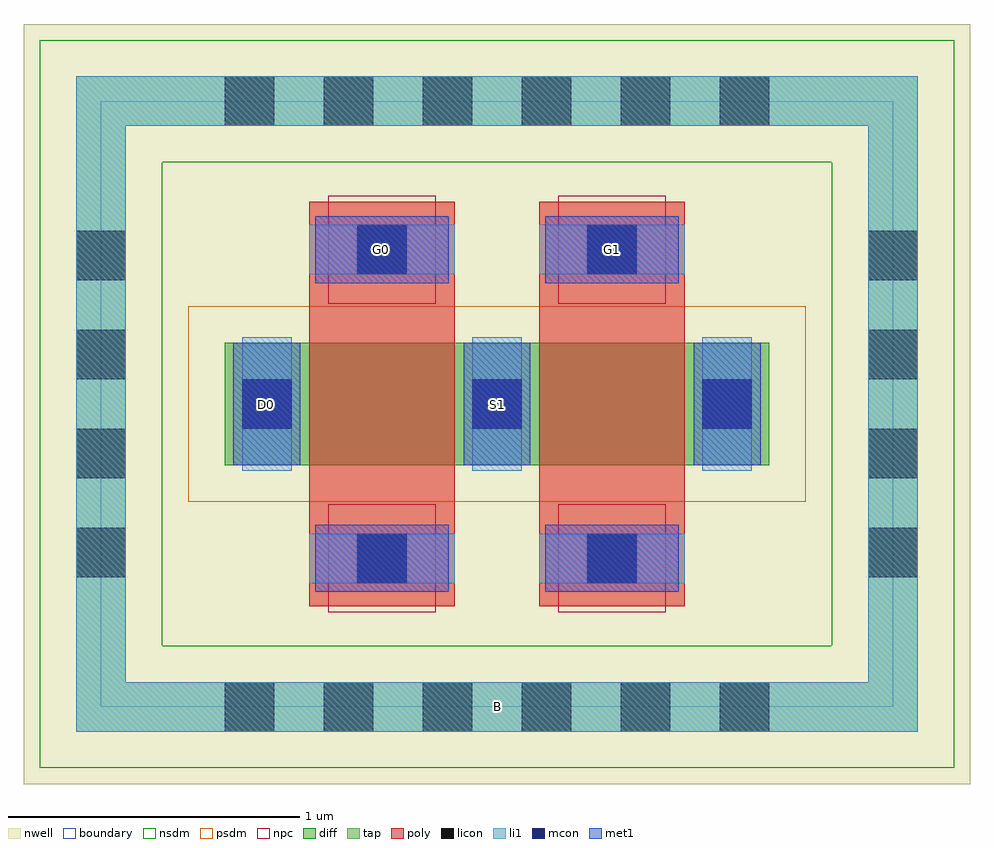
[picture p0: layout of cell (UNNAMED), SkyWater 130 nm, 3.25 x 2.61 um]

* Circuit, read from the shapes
.subckt (UNNAMED) B D0 G0 G1 S1
XM1 S1 G0 D0 B sky130_fd_pr__pfet_01v8 w=0.42 l=0.5
XM2 n1 G1 S1 B sky130_fd_pr__pfet_01v8 w=0.42 l=0.5
.ends

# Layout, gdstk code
import gdstk
lib = gdstk.Library(unit=1e-6, precision=1e-09)
def R(c, l, rs):  # rectangles x0, y0, x1, y1
    for r in rs: c.add(gdstk.rectangle(r[:2], r[2:], *l))
def A(c, l, x, y, w, h, nx, ny, dx, dy):  # array of equal rectangles
    R(c, l, [(x+i*dx, y+j*dy, x+i*dx+w, y+j*dy+h) for i in range(nx) for j in range(ny)])
nwell = (64, 20)
diff = (65, 20)
tap = (65, 44)
poly = (66, 20)
licon = (66, 44)
li1 = (67, 20)
mcon = (67, 44)
met1 = (68, 20)
nsdm = (93, 44)
psdm = (94, 20)
npc = (95, 20)
boundary = (235, 4)

c__unnamed_ = lib.new_cell('(UNNAMED)')
R(c__unnamed_, nwell, [(-1.625,-1.305,1.625,1.305)])
R(c__unnamed_, diff, [(-0.935,-0.21,0.935,0.21)])
R(c__unnamed_, tap, [(-1.445,-1.125,1.445,-0.955), (-1.445,-0.955,-1.275,0.955), (1.275,-0.955,1.445,0.955), (-1.445,0.955,1.445,1.125)])
R(c__unnamed_, poly, [(-0.645,-0.695,-0.145,0.695), (0.145,-0.695,0.645,0.695)])
A(c__unnamed_, licon, -0.935, -1.125, 0.17, 0.17, 6, 2, 0.34, 2.08)
A(c__unnamed_, licon, -1.445, -0.595, 0.17, 0.17, 1, 4, 0, 0.34)
A(c__unnamed_, licon, 1.275, -0.595, 0.17, 0.17, 1, 4, 0, 0.34)
A(c__unnamed_, licon, -0.875, -0.085, 0.17, 0.17, 3, 1, 0.79, 0)
R(c__unnamed_, licon, [(-0.48,-0.615,-0.31,-0.445), (0.31,-0.615,0.48,-0.445), (-0.48,0.445,-0.31,0.615), (0.31,0.445,0.48,0.615)])
A(c__unnamed_, li1, -0.875, -0.23, 0.17, 0.46, 3, 1, 0.79, 0)
R(c__unnamed_, li1, [(-1.445,-1.125,1.445,-0.955), (-1.445,-0.955,-1.275,0.955), (1.275,-0.955,1.445,0.955), (-0.645,-0.615,-0.145,-0.445), (0.145,-0.615,0.645,-0.445), (-0.645,0.445,-0.145,0.615), (0.145,0.445,0.645,0.615), (-1.445,0.955,1.445,1.125)])
A(c__unnamed_, mcon, -0.875, -0.085, 0.17, 0.17, 3, 1, 0.79, 0)
R(c__unnamed_, mcon, [(-0.48,-0.615,-0.31,-0.445), (0.31,-0.615,0.48,-0.445), (-0.48,0.445,-0.31,0.615), (0.31,0.445,0.48,0.615)])
A(c__unnamed_, met1, -0.905, -0.21, 0.23, 0.42, 3, 1, 0.79, 0)
R(c__unnamed_, met1, [(-0.625,-0.645,-0.165,-0.415), (0.165,-0.645,0.625,-0.415), (-0.625,0.415,-0.165,0.645), (0.165,0.415,0.625,0.645)])
R(c__unnamed_, nsdm, [(-1.57,-1.25,1.57,-0.83), (-1.57,-0.83,-1.15,0.83), (1.15,-0.83,1.57,0.83), (-1.57,0.83,1.57,1.25)])
R(c__unnamed_, psdm, [(-1.06,-0.335,1.06,0.335)])
R(c__unnamed_, npc, [(-0.58,-0.715,-0.21,-0.345), (0.21,-0.715,0.58,-0.345), (-0.58,0.345,-0.21,0.715), (0.21,0.345,0.58,0.715)])
R(c__unnamed_, boundary, [(-1.36,-1.04,1.36,1.04)])
c__unnamed_.add(gdstk.Label('B', (0,-1.04), layer=67, texttype=5))
c__unnamed_.add(gdstk.Label('D0', (-0.79,0), layer=67, texttype=5))
c__unnamed_.add(gdstk.Label('G0', (-0.395,0.53), layer=67, texttype=5))
c__unnamed_.add(gdstk.Label('S1', (0,0), layer=67, texttype=5))
c__unnamed_.add(gdstk.Label('G1', (0.395,0.53), layer=67, texttype=5))

lib.write_gds('_UNNAMED_.gds')
